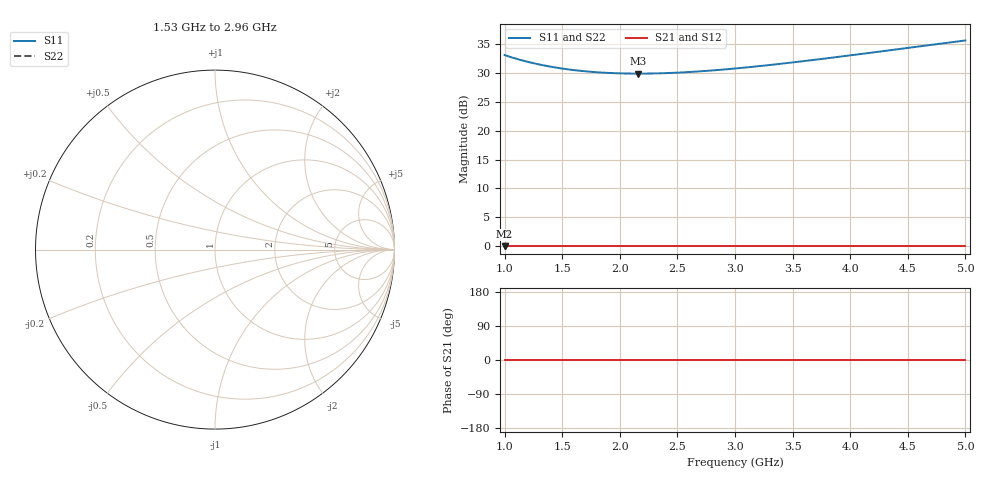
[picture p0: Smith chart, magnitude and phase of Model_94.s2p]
# GHZ S RI R 50
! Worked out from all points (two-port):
!   401 points, 1 GHz to 5 GHz, reference 50 ohm
!   highest |S21| = 0.00 dB at 1 GHz (marker M1); lowest = 0.0 dB at 1 GHz (marker M2)
!   |S21| within 3 dB of the highest: start of sweep to end of sweep
!   lowest |S11| = 29.9 dB at 2.16 GHz (marker M3)
!   |S11| at or under -10 dB: nowhere
!   |S22| runs from 29.9 to 35.6 dB; largest |S21 - S12| = 0
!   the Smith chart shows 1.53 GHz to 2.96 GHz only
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1  45.12 0  1 0  1 0  45.12 0
1.15  40.63 0  1 0  1 0  40.63 0
1.22  38.99 0  1 0  1 0  38.99 0
1.3  37.4 0  1 0  1 0  37.4 0
1.39  35.92 0  1 0  1 0  35.92 0
1.48  34.7 0  1 0  1 0  34.7 0
1.57  33.71 0  1 0  1 0  33.71 0
1.67  32.85 0  1 0  1 0  32.85 0
1.78  32.13 0  1 0  1 0  32.13 0
1.9  31.6 0  1 0  1 0  31.6 0
2.03  31.27 0  1 0  1 0  31.27 0
2.16  31.16 0  1 0  1 0  31.16 0
2.34  31.34 0  1 0  1 0  31.34 0
2.5  31.77 0  1 0  1 0  31.77 0
2.66  32.43 0  1 0  1 0  32.43 0
3  34.5 0  1 0  1 0  34.5 0
3.33  37.26 0  1 0  1 0  37.26 0
3.67  40.79 0  1 0  1 0  40.79 0
4  44.83 0  1 0  1 0  44.83 0
4.34  49.57 0  1 0  1 0  49.57 0
4.63  54.06 0  1 0  1 0  54.06 0
5  60.35 0  1 0  1 0  60.35 0
